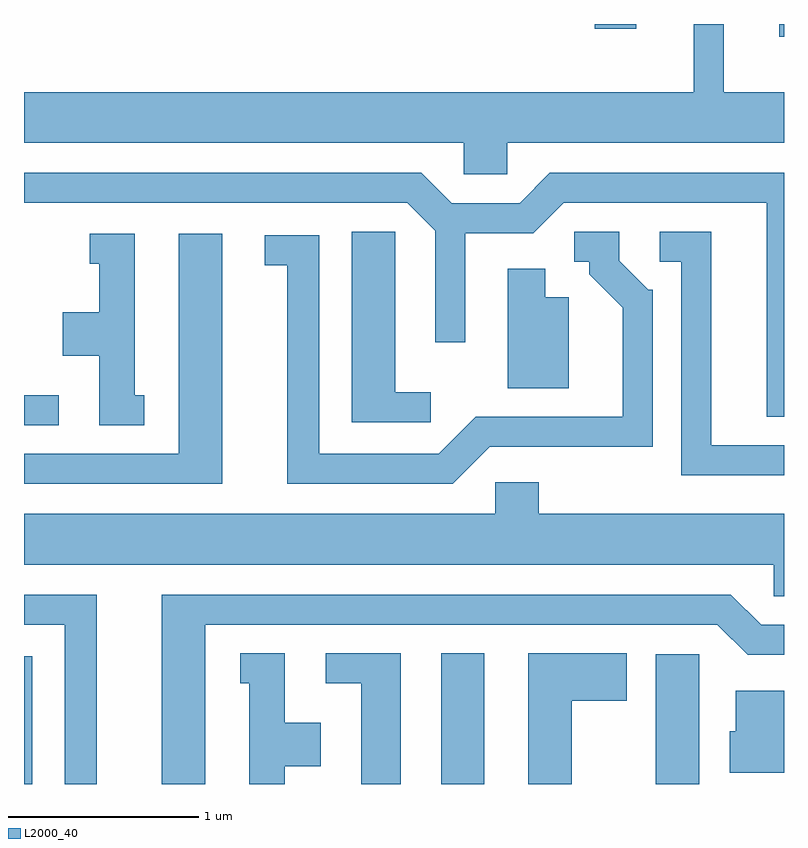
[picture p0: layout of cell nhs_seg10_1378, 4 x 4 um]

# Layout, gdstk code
import gdstk
lib = gdstk.Library(unit=1e-6, precision=1e-09)
def R(c, l, rs):  # rectangles x0, y0, x1, y1
    for r in rs: c.add(gdstk.rectangle(r[:2], r[2:], *l))
def P(c, l, *ps):  # polygons
    for p in ps: c.add(gdstk.Polygon(p, *l))
L2000_40 = (2000, 40)

nhs_seg10_1378 = lib.new_cell('nhs_seg10_1378')
R(nhs_seg10_1378, L2000_40, [(225.611,2130.522,225.654,2131.194), (227.806,2130.522,228.034,2131.209), (228.936,2130.522,229.164,2131.204), (225.611,2132.411,225.793,2132.569), (229.586,2134.456,229.611,2134.522), (228.616,2134.496,228.834,2134.522)])
P(nhs_seg10_1378, L2000_40, [(228.154,2133.896),(229.611,2133.896),(229.611,2134.164),(229.294,2134.164),(229.294,2134.522),(229.136,2134.522),(229.136,2134.164),(225.611,2134.164),(225.611,2133.896),(227.926,2133.896),(227.926,2133.731),(228.154,2133.731)],
  [(229.611,2133.739),(228.379,2133.739),(228.219,2133.579),(227.862,2133.579),(227.702,2133.739),(225.611,2133.739),(225.611,2133.581),(227.629,2133.581),(227.776,2133.434),(227.776,2132.848),(227.934,2132.848),(227.934,2133.421),(228.292,2133.421),(228.452,2133.581),(229.521,2133.581),(229.521,2132.456),(229.611,2132.456)],
  [(228.062,2132.296),(228.919,2132.296),(228.919,2133.124),(228.897,2133.124),(228.744,2133.277),(228.744,2133.429),(228.508,2133.429),(228.508,2133.271),(228.586,2133.271),(228.586,2133.204),(228.761,2133.029),(228.761,2132.454),(227.989,2132.454),(227.794,2132.259),(227.164,2132.259),(227.164,2133.409),(226.878,2133.409),(226.878,2133.251),(226.996,2133.251),(226.996,2132.101),(227.867,2132.101)],
  [(229.611,2132.304),(229.229,2132.304),(229.229,2133.429),(228.958,2133.429),(228.958,2133.271),(229.071,2133.271),(229.071,2132.146),(229.611,2132.146)],
  [(227.753,2132.584),(227.564,2132.584),(227.564,2133.429),(227.336,2133.429),(227.336,2132.426),(227.753,2132.426)],
  [(226.243,2132.569),(226.194,2132.569),(226.194,2133.419),(225.958,2133.419),(225.958,2133.261),(226.006,2133.261),(226.006,2133.004),(225.816,2133.004),(225.816,2132.776),(226.006,2132.776),(226.006,2132.411),(226.243,2132.411)],
  [(226.654,2133.419),(226.426,2133.419),(226.426,2132.259),(225.611,2132.259),(225.611,2132.101),(226.654,2132.101)],
  [(228.479,2133.084),(228.354,2133.084),(228.354,2133.234),(228.156,2133.234),(228.156,2132.606),(228.479,2132.606)],
  [(229.611,2131.944),(228.319,2131.944),(228.319,2132.109),(228.091,2132.109),(228.091,2131.944),(225.611,2131.944),(225.611,2131.676),(229.556,2131.676),(229.556,2131.511),(229.611,2131.511)],
  [(225.994,2131.519),(225.611,2131.519),(225.611,2131.361),(225.826,2131.361),(225.826,2130.522),(225.994,2130.522)],
  [(226.564,2131.361),(229.259,2131.361),(229.419,2131.201),(229.611,2131.201),(229.611,2131.359),(229.492,2131.359),(229.332,2131.519),(226.336,2131.519),(226.336,2130.522),(226.564,2130.522)],
  [(228.494,2130.961),(228.784,2130.961),(228.784,2131.209),(228.266,2131.209),(228.266,2130.522),(228.494,2130.522)],
  [(227.594,2131.209),(227.198,2131.209),(227.198,2131.051),(227.386,2131.051),(227.386,2130.522),(227.594,2130.522)],
  [(226.984,2130.616),(227.174,2130.616),(227.174,2130.844),(226.984,2130.844),(226.984,2131.209),(226.748,2131.209),(226.748,2131.051),(226.796,2131.051),(226.796,2130.522),(226.984,2130.522)],
  [(229.611,2131.014),(229.356,2131.014),(229.356,2130.799),(229.326,2130.799),(229.326,2130.581),(229.611,2130.581)])

lib.write_gds('nhs_seg10_1378.gds')
